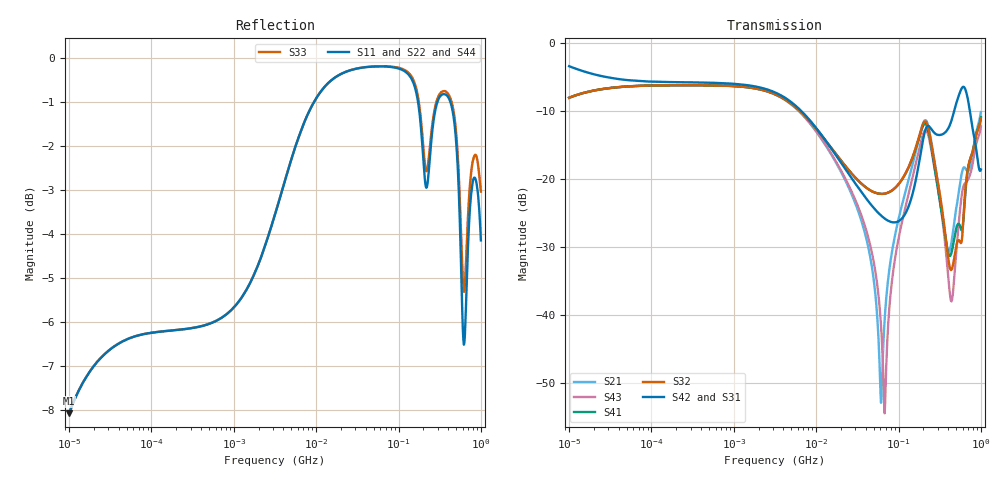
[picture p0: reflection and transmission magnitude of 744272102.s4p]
! This data is being provided by Wuerth Elektronik eiSos GmbH & Co. KG to the industry for analysis.
! Document information:
! Version:rev19a Date: 19/11/2019
! Component information:
! Match Code: WE-SL5 P/N: 744272102 Size:
! Disclaimer:  While Würth Elektronik eiSos has made every reasonable effort to ensure the accuracy
! of the information provided, Würth Elektronik eiSos does not guarantee the exemption of error on the
! data collection measurements, nor does Würth Elektronik eiSos guarantee that the information is current.
! Würth Elektronik eiSos reserves the right to make any adjustments at any time without notice.
! Würth Elektronik eiSos expressly disclaims all implied warranties regarding this measurement data collection.
! Note 1  This data measurement is representative according to the product implementation into the fixture.
! Component behavior is sensitive to implementation into the fixture, which includes board
! materials, trace geometry information, connector pin out, layer connection, use of de-embedding
! techniques, etc.
! Note 2 - The fixture was designed specifically to match the 50 Ohm line impedance, as well as the connector impedance,
! in order to accomplish a reliable measurement without reflections in the trace. Any other implementation of the fixture will change the obtained
! measurement performance. The used fixture behavior was de-embedded to accomplish reliable measurement results.
! The test setup consisted of the following:
!  - Agilent VNA E5071C or E5071B
!  - Calibrations are SOLT (short open load thru)
!  - De-embedding of the SMA's or line cards were included
!  - Equipment Settings -
!  - Sampling - 801 points
!  - IF BW  70 kHz
!  - Averaging  Not used
!  Port 1----->|1 |-@@@@@-|2 | -----> Port 3
!  Port 2----->|4 |-@@@@@-|3 | -----> Port 4
!*VNA Port --> |Port in Datasheet|
! |Port in Datasheet| --> VNA Port
! For further information regarding this testing, please contact
! Wuerth Elektronik eiSos
! Contact: EDA team in QDC
! Email: libraries@we-online.com or libraries@we-online.de
# Hz S  RI  R 50
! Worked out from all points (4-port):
!   801 points, 10 kHz to 1 GHz, reference 50 ohm
!   strongest paths, dB at 10 kHz, 177.8 kHz, 3.162 MHz, 56.23 MHz, 1 GHz:
!     S42: -3.5, -5.8, -7.3, -24.9, -18.6
!     S31: -3.5, -5.8, -7.3, -24.9, -22.4
!     S32: -8.1, -6.3, -7.6, -22.1, -11.1
!     S41: -8.1, -6.3, -7.6, -22.1, -11.0
!     S43: -8.1, -6.3, -7.6, -36.4, -12.3
!     S21: -8.1, -6.3, -7.6, -41.9, -10.2
!   lowest |S11| = -8.1 dB at 10 kHz (marker M1), VSWR 2.31, Z = 93.9 + j39.3 ohm
!   |S11| at or under -10 dB: nowhere
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10000  0.3536 0.1766  0.3522 0.1755  0.6463 -0.1783  -0.3521 -0.1753
       0.3521 0.1753  0.3532 0.1766  -0.3524 -0.1754  0.6468 -0.1781
       0.6464 -0.1776  -0.3526 -0.1754  0.3534 0.1768  0.3524 0.1751
       -0.3521 -0.1754  0.6469 -0.1784  0.3525 0.1755  0.3532 0.1765
5623413  0.7593 0.2351  0.2266 -0.2411  0.2406 -0.2455  -0.2266 0.2474
         0.2265 -0.241  0.7603 0.2354  -0.2273 0.2469  0.2409 -0.2451
         0.2406 -0.2457  -0.2274 0.2472  0.7591 0.236  0.2277 -0.2405
         -0.2268 0.2479  0.2411 -0.2457  0.2279 -0.2408  0.7601 0.2368
3.447466e7  0.9748 0.0131  0.00666 -0.0515  0.0222 -0.0788  -0.00415 0.0935
            0.00668 -0.0515  0.9764 0.0109  -0.00548 0.0934  0.0225 -0.0786
            0.0222 -0.0788  -0.00542 0.0935  0.975 0.0191  0.00784 -0.0558
            -0.00414 0.0936  0.0226 -0.0788  0.00785 -0.0559  0.9761 0.0193
6.130558e7  0.9764 -0.0662  0.00228 -0.000219  0.0126 -0.0525  0.00644 0.0772
            0.00227 -0.000221  0.9773 -0.0708  0.00439 0.0775  0.013 -0.0521
            0.0126 -0.0526  0.00448 0.0775  0.9777 -0.0555  0.00189 -0.00816
            0.00644 0.0774  0.013 -0.0523  0.00189 -0.00818  0.9788 -0.0557
1.966754e8  0.7215 -0.3091  0.2248 0.1134  -0.1834 -0.039  0.2091 0.1193
            0.2247 0.1125  0.7121 -0.3224  0.206 0.1388  -0.1794 -0.0515
            -0.1841 -0.0388  0.2069 0.1394  0.7551 -0.2863  0.1777 0.1104
            0.2098 0.1194  -0.1803 -0.0524  0.1776 0.1109  0.7642 -0.2861
4.403013e8  0.7151 -0.517  0.0303 0.0168  0.1219 0.2333  0.0281 0.0092
            0.03 0.0172  0.7024 -0.5361  0.0213 0.00603  0.0733 0.2572
            0.1191 0.2337  0.0209 0.00527  0.7547 -0.4755  0.0114 0.00521
            0.0275 0.00859  0.0735 0.2588  0.0115 0.00523  0.7462 -0.4895
1e9  0.219 -0.5812  0.2911 0.083  -0.0706 0.00361  0.2566 0.0903
     0.2982 0.0821  0.226 -0.5868  0.2039 0.1859  -0.0823 -0.0766
     -0.0755 0.00337  0.2057 0.188  0.3392 -0.6189  0.1464 0.1899
     0.2673 0.0937  -0.0851 -0.0805  0.1464 0.1926  0.3767 -0.5878
